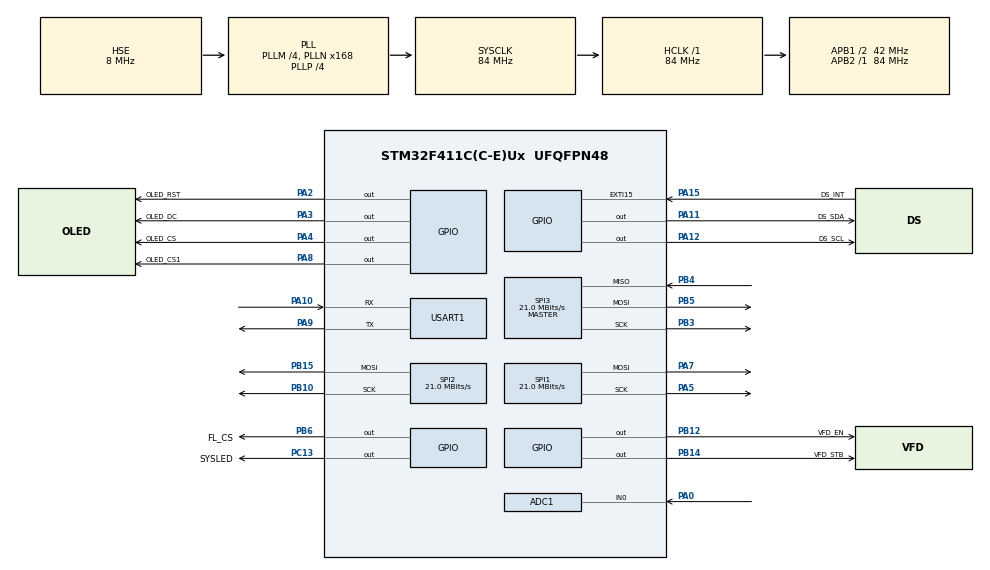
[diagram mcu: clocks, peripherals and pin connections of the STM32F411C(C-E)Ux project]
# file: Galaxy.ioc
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ADC1.Channel-0\#ChannelRegularConversion=ADC_CHANNEL_0
ADC1.ExternalTrigConv=ADC_EXTERNALTRIGCONV_T3_TRGO
ADC1.NbrOfConversionFlag=1
ADC1.Rank-0\#ChannelRegularConversion=1
ADC1.SamplingTime-0\#ChannelRegularConversion=ADC_SAMPLETIME_3CYCLES
ADC1.master=1
Dma.ADC1.1.Direction=DMA_PERIPH_TO_MEMORY
Dma.ADC1.1.FIFOMode=DMA_FIFOMODE_DISABLE
Dma.ADC1.1.Instance=DMA2_Stream0
Dma.ADC1.1.MemDataAlignment=DMA_MDATAALIGN_WORD
Dma.ADC1.1.MemInc=DMA_MINC_ENABLE
Dma.ADC1.1.Mode=DMA_CIRCULAR
Dma.ADC1.1.PeriphDataAlignment=DMA_PDATAALIGN_WORD
Dma.ADC1.1.PeriphInc=DMA_PINC_DISABLE
Dma.ADC1.1.Priority=DMA_PRIORITY_LOW
Dma.Request0=SPI1_TX
Dma.Request1=ADC1
Dma.Request2=SPI3_RX
Dma.Request3=USART1_RX
Dma.Request4=USART1_TX
Dma.SPI1_TX.0.Direction=DMA_MEMORY_TO_PERIPH
Dma.SPI1_TX.0.FIFOMode=DMA_FIFOMODE_DISABLE
Dma.SPI1_TX.0.Instance=DMA2_Stream3
Dma.SPI1_TX.0.MemDataAlignment=DMA_MDATAALIGN_BYTE
Dma.SPI1_TX.0.MemInc=DMA_MINC_ENABLE
Dma.SPI1_TX.0.Mode=DMA_NORMAL
Dma.SPI1_TX.0.PeriphDataAlignment=DMA_PDATAALIGN_BYTE
Dma.SPI1_TX.0.PeriphInc=DMA_PINC_DISABLE
Dma.SPI1_TX.0.Priority=DMA_PRIORITY_LOW
Dma.SPI3_RX.2.Direction=DMA_PERIPH_TO_MEMORY
Dma.SPI3_RX.2.FIFOMode=DMA_FIFOMODE_DISABLE
Dma.SPI3_RX.2.Instance=DMA1_Stream0
Dma.SPI3_RX.2.MemDataAlignment=DMA_MDATAALIGN_BYTE
Dma.SPI3_RX.2.MemInc=DMA_MINC_ENABLE
Dma.SPI3_RX.2.Mode=DMA_NORMAL
Dma.SPI3_RX.2.PeriphDataAlignment=DMA_PDATAALIGN_BYTE
Dma.SPI3_RX.2.PeriphInc=DMA_PINC_DISABLE
Dma.SPI3_RX.2.Priority=DMA_PRIORITY_HIGH
Dma.USART1_RX.3.Direction=DMA_PERIPH_TO_MEMORY
Dma.USART1_RX.3.FIFOMode=DMA_FIFOMODE_DISABLE
Dma.USART1_RX.3.Instance=DMA2_Stream5
Dma.USART1_RX.3.MemDataAlignment=DMA_MDATAALIGN_BYTE
Dma.USART1_RX.3.MemInc=DMA_MINC_ENABLE
Dma.USART1_RX.3.Mode=DMA_NORMAL
Dma.USART1_RX.3.PeriphDataAlignment=DMA_PDATAALIGN_BYTE
Dma.USART1_RX.3.PeriphInc=DMA_PINC_DISABLE
Dma.USART1_RX.3.Priority=DMA_PRIORITY_HIGH
Dma.USART1_TX.4.Direction=DMA_MEMORY_TO_PERIPH
Dma.USART1_TX.4.FIFOMode=DMA_FIFOMODE_DISABLE
Dma.USART1_TX.4.Instance=DMA2_Stream7
Dma.USART1_TX.4.MemDataAlignment=DMA_MDATAALIGN_BYTE
Dma.USART1_TX.4.MemInc=DMA_MINC_ENABLE
Dma.USART1_TX.4.Mode=DMA_NORMAL
Dma.USART1_TX.4.PeriphDataAlignment=DMA_PDATAALIGN_BYTE
Dma.USART1_TX.4.PeriphInc=DMA_PINC_DISABLE
Dma.USART1_TX.4.Priority=DMA_PRIORITY_MEDIUM
Mcu.Family=STM32F4
Mcu.Name=STM32F411C(C-E)Ux
Mcu.Package=UFQFPN48
NVIC.DMA1_Stream0_IRQn=true\:0\:0\:false\:false\:true\:false\:true
NVIC.DMA2_Stream0_IRQn=true\:0\:0\:false\:false\:true\:false\:true
NVIC.DMA2_Stream3_IRQn=true\:0\:0\:false\:false\:true\:false\:true
NVIC.DMA2_Stream5_IRQn=true\:0\:0\:false\:false\:true\:false\:true
NVIC.DMA2_Stream7_IRQn=true\:0\:0\:false\:false\:true\:false\:true
NVIC.EXTI15_10_IRQn=true\:0\:0\:false\:false\:true\:true\:true
NVIC.FPU_IRQn=true\:0\:0\:false\:false\:true\:true\:false
NVIC.PriorityGroup=NVIC_PRIORITYGROUP_4
NVIC.TIM1_BRK_TIM9_IRQn=true\:0\:0\:false\:false\:true\:true\:true
NVIC.TIM4_IRQn=true\:0\:0\:false\:false\:true\:true\:true
NVIC.TIM5_IRQn=true\:0\:0\:false\:false\:true\:true\:true
NVIC.USART1_IRQn=true\:0\:0\:false\:false\:true\:true\:true
PA0-WKUP.Signal=ADCx_IN0
PA10.Mode=Asynchronous
PA10.Signal=USART1_RX
PA11.GPIO_Label=DS_SDA
PA11.GPIO_ModeDefaultOutputPP=GPIO_MODE_OUTPUT_PP
PA11.GPIO_PuPd=GPIO_NOPULL
PA11.GPIO_Speed=GPIO_SPEED_FREQ_HIGH
PA11.PinState=GPIO_PIN_SET
PA11.Signal=GPIO_Output
PA12.GPIO_Label=DS_SCL
PA12.GPIO_ModeDefaultOutputPP=GPIO_MODE_OUTPUT_PP
PA12.GPIO_PuPd=GPIO_PULLUP
PA12.GPIO_Speed=GPIO_SPEED_FREQ_HIGH
PA12.PinState=GPIO_PIN_SET
PA12.Signal=GPIO_Output
PA13.Mode=Serial_Wire
PA13.Signal=SYS_JTMS-SWDIO
PA14.Mode=Serial_Wire
PA14.Signal=SYS_JTCK-SWCLK
PA15.GPIO_Label=DS_INT
PA15.GPIO_ModeDefaultEXTI=GPIO_MODE_IT_FALLING
PA15.GPIO_PuPd=GPIO_PULLUP
PA15.Signal=GPXTI15
PA2.GPIO_Label=OLED_RST
PA2.GPIO_ModeDefaultOutputPP=GPIO_MODE_OUTPUT_PP
PA2.GPIO_PuPd=GPIO_PULLUP
PA2.GPIO_Speed=GPIO_SPEED_FREQ_VERY_HIGH
PA2.PinState=GPIO_PIN_SET
PA2.Signal=GPIO_Output
PA3.GPIO_Label=OLED_DC
PA3.GPIO_ModeDefaultOutputPP=GPIO_MODE_OUTPUT_PP
PA3.GPIO_PuPd=GPIO_PULLUP
PA3.GPIO_Speed=GPIO_SPEED_FREQ_VERY_HIGH
PA3.PinState=GPIO_PIN_SET
PA3.Signal=GPIO_Output
PA4.GPIO_Label=OLED_CS
PA4.GPIO_ModeDefaultOutputPP=GPIO_MODE_OUTPUT_PP
PA4.GPIO_PuPd=GPIO_PULLUP
PA4.GPIO_Speed=GPIO_SPEED_FREQ_VERY_HIGH
PA4.PinState=GPIO_PIN_SET
PA4.Signal=GPIO_Output
PA5.Mode=TX_Only_Simplex_Unidirect_Master
PA5.Signal=SPI1_SCK
PA7.Mode=TX_Only_Simplex_Unidirect_Master
PA7.Signal=SPI1_MOSI
PA8.GPIO_Label=OLED_CS1
PA8.GPIO_ModeDefaultOutputPP=GPIO_MODE_OUTPUT_PP
PA8.GPIO_PuPd=GPIO_PULLUP
PA8.GPIO_Speed=GPIO_SPEED_FREQ_VERY_HIGH
PA8.PinState=GPIO_PIN_SET
PA8.Signal=GPIO_Output
PA9.Mode=Asynchronous
PA9.Signal=USART1_TX
PB10.Mode=TX_Only_Simplex_Unidirect_Master
PB10.Signal=SPI2_SCK
PB12.GPIO_Label=VFD_EN
PB12.GPIO_ModeDefaultOutputPP=GPIO_MODE_OUTPUT_PP
PB12.GPIO_PuPd=GPIO_PULLUP
PB12.GPIO_Speed=GPIO_SPEED_FREQ_MEDIUM
PB12.PinState=GPIO_PIN_SET
PB12.Signal=GPIO_Output
PB14.GPIO_Label=VFD_STB
PB14.GPIO_ModeDefaultOutputPP=GPIO_MODE_OUTPUT_PP
PB14.GPIO_PuPd=GPIO_PULLUP
PB14.GPIO_Speed=GPIO_SPEED_FREQ_MEDIUM
PB14.PinState=GPIO_PIN_SET
PB14.Signal=GPIO_Output
PB15.Mode=TX_Only_Simplex_Unidirect_Master
PB15.Signal=SPI2_MOSI
PB3.Mode=Full_Duplex_Master
PB3.Signal=SPI3_SCK
PB4.Mode=Full_Duplex_Master
PB4.Signal=SPI3_MISO
PB5.Mode=Full_Duplex_Master
PB5.Signal=SPI3_MOSI
PB6.GPIO_Label=FL_CS
PB6.GPIO_ModeDefaultOutputPP=GPIO_MODE_OUTPUT_PP
PB6.GPIO_PuPd=GPIO_PULLUP
PB6.GPIO_Speed=GPIO_SPEED_FREQ_VERY_HIGH
PB6.PinState=GPIO_PIN_SET
PB6.Signal=GPIO_Output
PC13-ANTI_TAMP.GPIO_Label=SYSLED
PC13-ANTI_TAMP.GPIO_ModeDefaultOutputPP=GPIO_MODE_OUTPUT_PP
PC13-ANTI_TAMP.GPIO_PuPd=GPIO_PULLUP
PC13-ANTI_TAMP.GPIO_Speed=GPIO_SPEED_FREQ_LOW
PC13-ANTI_TAMP.PinState=GPIO_PIN_SET
PC13-ANTI_TAMP.Signal=GPIO_Output
PH0\ -\ OSC_IN.Mode=HSE-External-Oscillator
PH0\ -\ OSC_IN.Signal=RCC_OSC_IN
PH1\ -\ OSC_OUT.Mode=HSE-External-Oscillator
PH1\ -\ OSC_OUT.Signal=RCC_OSC_OUT
ProjectManager.HeapSize=0x200
ProjectManager.StackSize=0x400
ProjectManager.TargetToolchain=MDK-ARM V5.27
RCC.48MHZClocksFreq_Value=84000000
RCC.AHBFreq_Value=84000000
RCC.APB1CLKDivider=RCC_HCLK_DIV2
RCC.APB1Freq_Value=42000000
RCC.APB1TimFreq_Value=84000000
RCC.APB2Freq_Value=84000000
RCC.APB2TimFreq_Value=84000000
RCC.CortexFreq_Value=84000000
RCC.HCLKFreq_Value=84000000
RCC.HSE_VALUE=8000000
RCC.HSI_VALUE=16000000
RCC.LSE_VALUE=32768
RCC.PLLM=4
RCC.PLLN=168
RCC.PLLP=RCC_PLLP_DIV4
RCC.PLLSourceVirtual=RCC_PLLSOURCE_HSE
RCC.RCC_RTC_Clock_Source=RCC_RTCCLKSOURCE_LSE
RCC.RCC_RTC_Clock_SourceVirtual=RCC_RTCCLKSOURCE_LSE
RCC.SYSCLKFreq_VALUE=84000000
RCC.SYSCLKSource=RCC_SYSCLKSOURCE_PLLCLK
RCC.VCOOutputFreq_Value=336000000
SH.ADCx_IN0.0=ADC1_IN0,IN0
SPI1.BaudRatePrescaler=SPI_BAUDRATEPRESCALER_4
SPI1.CalculateBaudRate=21.0 MBits/s
SPI1.Direction=SPI_DIRECTION_2LINES
SPI1.Mode=SPI_MODE_MASTER
SPI1.VirtualType=VM_MASTER
SPI2.CalculateBaudRate=21.0 MBits/s
SPI2.Direction=SPI_DIRECTION_2LINES
SPI2.Mode=SPI_MODE_MASTER
SPI2.VirtualType=VM_MASTER
SPI3.CLKPhase=SPI_PHASE_2EDGE
SPI3.CLKPolarity=SPI_POLARITY_HIGH
SPI3.CalculateBaudRate=21.0 MBits/s
SPI3.Direction=SPI_DIRECTION_2LINES
SPI3.Mode=SPI_MODE_MASTER
SPI3.VirtualType=VM_MASTER
TIM3.Period=99
TIM3.Prescaler=83
TIM3.TIM_MasterOutputTrigger=TIM_TRGO_UPDATE
TIM4.AutoReloadPreload=TIM_AUTORELOAD_PRELOAD_ENABLE
TIM4.Period=99
TIM4.Prescaler=8399
TIM5.Period=199
TIM5.Prescaler=8399
TIM9.AutoReloadPreload=TIM_AUTORELOAD_PRELOAD_ENABLE
TIM9.Period=9999
TIM9.Prescaler=8399
USART1.VirtualMode=VM_ASYNC
VP_TIM3_VS_ClockSourceINT.Mode=Internal
VP_TIM4_VS_ClockSourceINT.Mode=Internal
VP_TIM5_VS_ClockSourceINT.Mode=Internal
VP_TIM9_VS_ClockSourceINT.Mode=Internal
board=custom

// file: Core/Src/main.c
/* USER CODE BEGIN Header */
/**
  ******************************************************************************
  * @file           : main.c
  * @brief          : Main program body
  ******************************************************************************
  * @attention
  *
  * <h2><center>&copy; Copyright (c) 2020 STMicroelectronics.
  * All rights reserved.</center></h2>
  *
  * This software component is licensed by ST under BSD 3-Clause license,
  * the "License"; You may not use this file except in compliance with the
  * License. You may obtain a copy of the License at:
  *                        opensource.org/licenses/BSD-3-Clause
  *
  ******************************************************************************
  */
/* USER CODE END Header */
#include "main.h"
#include "adc.h"
#include "dma.h"
#include "spi.h"
#include "tim.h"
#include "usart.h"
#include "gpio.h"

/* USER CODE BEGIN Includes */
#include "OLED_Animation.h"
#include "OLED_Driver.h"
#include "OLED_GFX.h"
#include "OLED_FFT.h"
#include "OLED_UI.h"
#include "string.h"
#include "math.h"
#include "stdio.h"
#include "stm32_dsp.h"
#include "stmflash.h"
#include "table_fft.h"
#include "ds3231.h"
#include "i2c.h"
#include "flash.h"
#include "vfd.h"
/* USER CODE END Includes */

/* USER CODE BEGIN PM */
uint8_t Flag_Refrash = False;
uint8_t Flag_Blink = False;
uint8_t Flag_Sleep = False;
uint8_t Flag_Continue = False;
uint8_t Flag_Reception = True;
uint8_t OfflineCount = 6;
uint8_t SystemActive = False;
u8 datatemp[256] = {};
u16 RandomX=30,RandomY=30;

u16 Display_Mode = MODE_OFFLINE;
u16 Current_Mode = MODE_OFFLINE;

OLED_GFX oled;
OLED_FFT fft;
OLED_Animation motion;
OLED_UI ui;

void MainSysRun()
{
	static int runcount=0;
	if(Display_Mode==Current_Mode)
	{
		switch(Current_Mode)
		{
			case MODE_GAME:ui.SUIDataPrss();break;
			case MODE_NORMAL:ui.NUIDataPrss();break;
			case MODE_MUSIC:ui.MUIDataPrss();break;
			case MODE_DATE:ui.TUIDataPrss();break;
			case MODE_SHOW:ui.HUIDataPrss();break;
			case MODE_OFFLINE:break;
			default:ui.SUIDataPrss();break;
		}

		return;
	}
	else
	{
		runcount++;
		if(runcount==1)
		{
			switch(Current_Mode)
			{
				case MODE_GAME:ui.SUI_Out();;break;
				case MODE_NORMAL:ui.NUI_Out();break;
				case MODE_MUSIC:ui.MUI_Out();break;
				case MODE_DATE:ui.TUI_Out();break;
				case MODE_SHOW:ui.HUI_Out();break;
				case MODE_OFFLINE:break;
				default:ui.SUI_Out();break;
			}
		}
		else if(runcount>60)
		{
			runcount=0;
			Current_Mode=Display_Mode;
			switch(Current_Mode)
			{
				case MODE_GAME:ui.SUI_In();;break;
				case MODE_NORMAL:ui.NUI_In();break;
				case MODE_MUSIC:ui.MUI_In();break;
				case MODE_DATE:ui.TUI_In();break;
				case MODE_SHOW:ui.HUI_In();break;
				case MODE_OFFLINE:break;
				default:ui.SUI_In();break;
			}
		}
	}
}

#define Radius 60
#define RadiusC 56
#define RadiusB 53
#define HourRadius 30
#define MinRadius 40
#define SecRadius 50
u16 ColorPointer[3];

/* USER CODE END PM */

void SystemClock_Config(void);

int main(void)
{

  /* MCU Configuration--------------------------------------------------------*/

  /* Reset of all peripherals, Initializes the Flash interface and the Systick. */
  HAL_Init();

  /* Configure the system clock */
  SystemClock_Config();

  /* Initialize all configured peripherals */
  MX_GPIO_Init();
  MX_DMA_Init();
  MX_SPI1_Init();
  MX_USART1_UART_Init();
  MX_ADC1_Init();
  MX_TIM3_Init();
  MX_TIM4_Init();
  MX_TIM5_Init();
  MX_TIM9_Init();
  MX_SPI3_Init();
  MX_SPI2_Init();
  /* USER CODE BEGIN 2 */
	__HAL_UART_ENABLE_IT(&huart1, UART_IT_IDLE);
  HAL_UART_Receive_DMA(&huart1,Uart_Recv1_Buf,Uart_Max_Length);
	HAL_TIM_Base_Start_IT(&htim4);
	HAL_TIM_Base_Start_IT(&htim5);
	HAL_TIM_Base_Start_IT(&htim9);
	printf("Sys OK!\r\n");
  oled.Device_Init();
	motion.OLED_AllMotion_Init();
	InitData();
	SPI_Flash_Init();
	ui.SUI_In();
	VFD_Init();
	UsartCommand(&huart1,0xA002,3);

  /* USER CODE END 2 */

  /* Infinite loop */
  while (1)
  {

    /* USER CODE BEGIN 3 */
//		MUSIC_Mode();
		oled.Clear_Screen();
		motion.OLED_AllMotion(Device_Cmd.commandmotion,Device_Cmd.commandspeed);
		switch(Current_Mode)
		{
			case MODE_GAME:ui.SUIMainShow();break;
			case MODE_NORMAL:ui.NUIMainShow();break;
			case MODE_MUSIC:ui.MUIMainShow();break;
			case MODE_DATE:ui.TUIMainShow();break;
			case MODE_SHOW:ui.HUIMainShow();break;
			case MODE_OFFLINE:break;
			default:ui.SUIMainShow();break;
		}
		oled.Refrash_Screen();
	VFD_Clear();
	VFD_Display();
	VFD_Refresh_Vram();
  }
  /* USER CODE END 3 */
}

void SystemClock_Config(void)
{
  RCC_OscInitTypeDef RCC_OscInitStruct = {0};
  RCC_ClkInitTypeDef RCC_ClkInitStruct = {0};

  /** Configure the main internal regulator output voltage
  */
  __HAL_RCC_PWR_CLK_ENABLE();
  __HAL_PWR_VOLTAGESCALING_CONFIG(PWR_REGULATOR_VOLTAGE_SCALE1);
  /** Initializes the RCC Oscillators according to the specified parameters
  * in the RCC_OscInitTypeDef structure.
  */
  RCC_OscInitStruct.OscillatorType = RCC_OSCILLATORTYPE_HSE;
  RCC_OscInitStruct.HSEState = RCC_HSE_ON;
  RCC_OscInitStruct.PLL.PLLState = RCC_PLL_ON;
  RCC_OscInitStruct.PLL.PLLSource = RCC_PLLSOURCE_HSE;
  RCC_OscInitStruct.PLL.PLLM = 4;
  RCC_OscInitStruct.PLL.PLLN = 168;
  RCC_OscInitStruct.PLL.PLLP = RCC_PLLP_DIV4;
  RCC_OscInitStruct.PLL.PLLQ = 4;
  if (HAL_RCC_OscConfig(&RCC_OscInitStruct) != HAL_OK)
  {
    Error_Handler();
  }
  /** Initializes the CPU, AHB and APB buses clocks
  */
  RCC_ClkInitStruct.ClockType = RCC_CLOCKTYPE_HCLK|RCC_CLOCKTYPE_SYSCLK
                              |RCC_CLOCKTYPE_PCLK1|RCC_CLOCKTYPE_PCLK2;
  RCC_ClkInitStruct.SYSCLKSource = RCC_SYSCLKSOURCE_PLLCLK;
  RCC_ClkInitStruct.AHBCLKDivider = RCC_SYSCLK_DIV1;
  RCC_ClkInitStruct.APB1CLKDivider = RCC_HCLK_DIV2;
  RCC_ClkInitStruct.APB2CLKDivider = RCC_HCLK_DIV1;

  if (HAL_RCC_ClockConfig(&RCC_ClkInitStruct, FLASH_LATENCY_2) != HAL_OK)
  {
    Error_Handler();
  }
}

/* USER CODE BEGIN 4 */
u16 offlinecount = 0;
void HAL_TIM_PeriodElapsedCallback(TIM_HandleTypeDef *htim)
{
	static u16 TimeCount = 0;

	if (htim->Instance == htim4.Instance)
	{
		DampAutoPos(0);
		MainSysRun();
	}
	if (htim->Instance == htim5.Instance)
	{
		oled.Calc_Color();
		Flag_Refrash = True;
	}
	if (htim->Instance == htim9.Instance)
	{
		switch(Device_Cmd.commandrgbmode)
		{
			case 1:oled.Set_Wheelf(TimeCount%96);break;
			case 2:oled.Set_Wheel(TimeCount%96);break;
			case 3:oled.Set_Wheelf(Device_Cmd.commandrgbcolor*96/256);break;
			default:oled.Set_Wheelf(Device_Cmd.commandrgbcolor*96/256);break;
		}
		TimeCount++;
		oled.Clear_FpsCount();
		if(Display_Mode != MODE_OFFLINE)
			if(offlinecount++>5)
				Display_Mode = MODE_OFFLINE;
	}
//	if (htim->Instance == htim6.Instance)
//	{
//		if(ContinueCount++>20)
//		{
//			ContinueCount = 0;
//			HAL_TIM_Base_Stop_IT(&htim6);
//		}
//	}
//	if (htim->Instance == htim7.Instance)
//	{
//		oled.Set_Wheel(TimeRun%96);
////		if(TimeRun++>20)
////		{
////			TimeRun = 0;
////		}
//
//		if(SleepCount++>SLEEPTIME*2)
//		{
//				Flag_Sleep = True;
//				SleepCount = 0;
//		}
//	}
}
void HAL_GPIO_EXTI_Callback(uint16_t GPIO_Pin)
{
	switch(GPIO_Pin)
	{
		case DS_INT_Pin:
		if(HAL_GPIO_ReadPin(DS_INT_GPIO_Port,DS_INT_Pin)==GPIO_PIN_RESET)  //LED1翻转
		{
			Time_Handle();
//			printf("Time:%s\r\n",ds3231.Time);
		}
		break;
	}
}
//void HAL_ADC_ConvCpltCallback(ADC_HandleTypeDef* hadc)
//{
////	HAL_ADC_Stop_DMA(&hadc1);
//}

/* USER CODE END 4 */

void Error_Handler(void)
{
}

/************************ (C) COPYRIGHT STMicroelectronics *****END OF FILE****/
